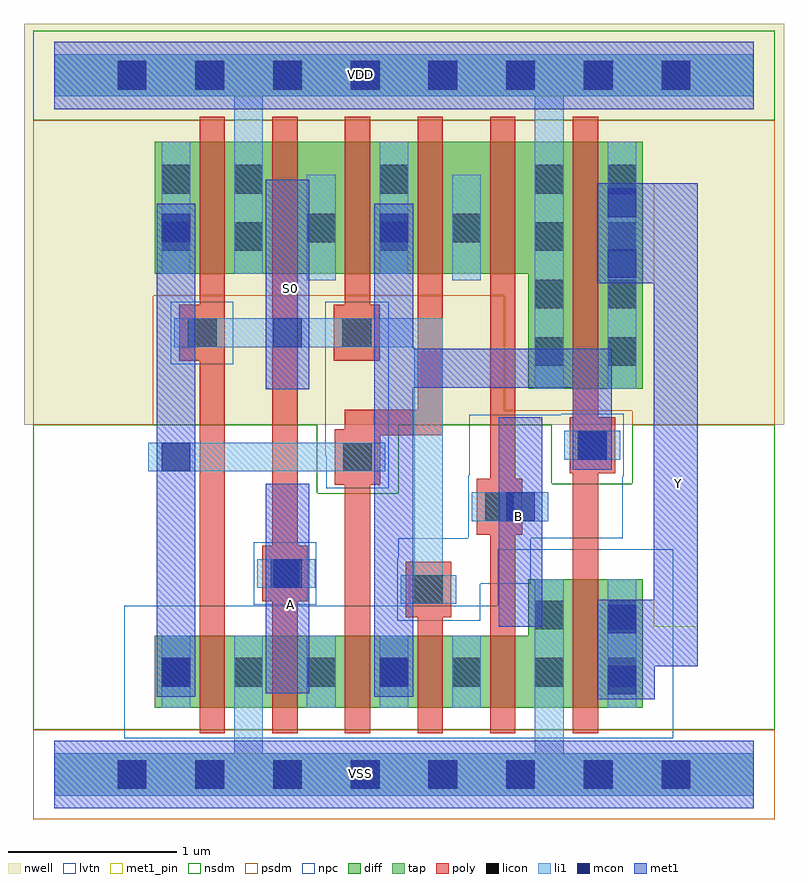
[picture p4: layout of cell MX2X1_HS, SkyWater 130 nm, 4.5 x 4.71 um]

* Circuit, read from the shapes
.subckt MX2X1_HS A B S0 VDD VSS Y
XM1 VSS S0 n1 VSS sky130_fd_pr__nfet_01v8_lvt w=0.425 l=0.15
XM2 n2 A VSS VSS sky130_fd_pr__nfet_01v8_lvt w=0.425 l=0.15
XM3 n3 n1 n2 VSS sky130_fd_pr__nfet_01v8_lvt w=0.425 l=0.15
XM4 n4 S0 n3 VSS sky130_fd_pr__nfet_01v8_lvt w=0.425 l=0.15
XM5 VSS B n4 VSS sky130_fd_pr__nfet_01v8_lvt w=0.425 l=0.15
XM6 Y n3 VSS VSS sky130_fd_pr__nfet_01v8_lvt w=0.76 l=0.15
XM7 VDD S0 n1 VDD sky130_fd_pr__pfet_01v8 w=0.78 l=0.15
XM8 n5 A VDD VDD sky130_fd_pr__pfet_01v8 w=0.78 l=0.15
XM9 n3 S0 n5 VDD sky130_fd_pr__pfet_01v8 w=0.78 l=0.15
XM10 n6 n1 n3 VDD sky130_fd_pr__pfet_01v8 w=0.78 l=0.15
XM11 VDD B n6 VDD sky130_fd_pr__pfet_01v8 w=0.78 l=0.15
XM12 Y n3 VDD VDD sky130_fd_pr__pfet_01v8 w=1.46 l=0.15
.ends

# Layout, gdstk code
from math import pi, radians
import gdstk
lib = gdstk.Library(unit=1e-6, precision=1e-09)
def R(c, l, rs):  # rectangles x0, y0, x1, y1
    for r in rs: c.add(gdstk.rectangle(r[:2], r[2:], *l))
def A(c, l, x, y, w, h, nx, ny, dx, dy):  # array of equal rectangles
    R(c, l, [(x+i*dx, y+j*dy, x+i*dx+w, y+j*dy+h) for i in range(nx) for j in range(ny)])
def P(c, l, *ps):  # polygons
    for p in ps: c.add(gdstk.Polygon(p, *l))
nwell = (64, 20)
diff = (65, 20)
tap = (65, 44)
poly = (66, 20)
licon = (66, 44)
li1 = (67, 20)
mcon = (67, 44)
met1_pin = (68, 16)
met1 = (68, 20)
nsdm = (93, 44)
psdm = (94, 20)
npc = (95, 20)
lvtn = (125, 44)

pyl1con_c_cdns_752016586 = lib.new_cell('PYL1CON_C_CDNS_752016586813')
R(pyl1con_c_cdns_752016586, poly, [(-0.135,-0.165,0.135,0.165)])
R(pyl1con_c_cdns_752016586, licon, [(-0.085,-0.085,0.085,0.085)])
R(pyl1con_c_cdns_752016586, npc, [(-0.185,-0.185,0.185,0.185)])

l1m1_c_cdns_752016586812 = lib.new_cell('L1M1_C_CDNS_752016586812')
R(l1m1_c_cdns_752016586812, li1, [(-0.085,-0.165,0.085,0.165)])
R(l1m1_c_cdns_752016586812, mcon, [(-0.085,-0.085,0.085,0.085)])
R(l1m1_c_cdns_752016586812, met1, [(-0.115,-0.145,0.115,0.145)])

l1m1_c_cdns_752016586818 = lib.new_cell('L1M1_C_CDNS_752016586818')
R(l1m1_c_cdns_752016586818, li1, [(-0.085,-0.345,0.085,0.345)])
R(l1m1_c_cdns_752016586818, mcon, [(-0.085,-0.265,0.085,-0.095), (-0.085,0.095,0.085,0.265)])
R(l1m1_c_cdns_752016586818, met1, [(-0.145,-0.295,0.195,0.295)])

l1m1_c_cdns_752016586811 = lib.new_cell('L1M1_C_CDNS_752016586811')
R(l1m1_c_cdns_752016586811, li1, [(-0.165,-0.085,0.165,0.085)])
R(l1m1_c_cdns_752016586811, mcon, [(-0.085,-0.085,0.085,0.085)])
R(l1m1_c_cdns_752016586811, met1, [(-0.115,-0.145,0.115,0.145)])

licondiff_c_cdns_7520165 = lib.new_cell('LICONDIFF_C_CDNS_752016586819')
R(licondiff_c_cdns_7520165, diff, [(-0.125,-0.145,0.125,0.145)])
R(licondiff_c_cdns_7520165, licon, [(-0.085,-0.085,0.085,0.085), (-0.085,-0.085,0.085,0.085)])

mx2x1_hs = lib.new_cell('MX2X1_HS')
R(mx2x1_hs, nwell, [(-0.18,2.07,4.32,4.445)])
P(mx2x1_hs, diff, [(3.485,3.745),(0.595,3.745),(0.595,2.965),(2.805,2.965),(2.805,2.285),(3.485,2.285)],
  [(3.485,1.155),(2.805,1.155),(2.805,0.82),(0.595,0.82),(0.595,0.395),(3.485,0.395)])
R(mx2x1_hs, poly, [(0.86,0.245,1.01,3.895), (1.29,0.245,1.44,3.895), (2.15,0.245,2.3,1.23), (2.58,0.245,2.73,3.895), (3.07,0.245,3.22,3.895), (1.72,2.53,1.87,3.895)])
P(mx2x1_hs, poly, [(2.3,3.895),(2.15,3.895),(2.15,2.16),(1.72,2.16),(1.72,0.245),(1.87,0.245),(1.87,2.01),(2.3,2.01)])
A(mx2x1_hs, licon, 0.375, -0.085, 0.17, 0.17, 8, 2, 0.46, 4.14)
A(mx2x1_hs, licon, 2.845, 2.42, 0.17, 0.17, 1, 4, 0, 0.34)
A(mx2x1_hs, licon, 3.275, 2.42, 0.17, 0.17, 1, 4, 0, 0.34)
R(mx2x1_hs, licon, [(0.635,0.52,0.805,0.69), (1.065,0.52,1.235,0.69), (1.925,0.52,2.095,0.69), (2.845,0.52,3.015,0.69), (3.275,0.52,3.445,0.69), (2.845,0.86,3.015,1.03), (3.275,0.86,3.445,1.03), (0.635,3.1,0.805,3.27), (1.065,3.1,1.235,3.27), (1.925,3.1,2.095,3.27), (0.635,3.44,0.805,3.61), (1.065,3.44,1.235,3.61), (1.925,3.44,2.095,3.61)])
R(mx2x1_hs, li1, [(0.635,0.395,0.805,0.82), (1.925,0.395,2.095,0.82), (3.275,0.395,3.445,1.155), (3.275,2.285,3.445,3.745), (0.635,2.965,0.805,3.745), (1.925,2.965,2.095,3.745)])
P(mx2x1_hs, li1, [(2.38,1.18),(2.3,1.18),(2.3,2.7),(0.71,2.7),(0.71,2.53),(2.13,2.53),(2.13,1.18),(2.05,1.18),(2.05,1.01),(2.38,1.01)],
  [(4.14,4.265),(0,4.265),(0,4.015),(1.065,4.015),(1.065,2.965),(1.235,2.965),(1.235,4.015),(2.845,4.015),(2.845,2.285),(3.015,2.285),(3.015,4.015),(4.14,4.015)],
  [(4.14,0.125),(3.015,0.125),(3.015,1.155),(2.845,1.155),(2.845,0.125),(1.235,0.125),(1.235,0.82),(1.065,0.82),(1.065,0.125),(0,0.125),(0,-0.125),(4.14,-0.125)])
A(mx2x1_hs, mcon, 0.375, -0.085, 0.17, 0.17, 8, 2, 0.46, 4.14)
R(mx2x1_hs, met1_pin, [(1.25,0.48,1.51,1.72), (2.63,0.875,2.89,2.115), (3.55,0.875,3.81,3.5), (1.25,2.28,1.51,3.52)])
P(mx2x1_hs, met1, [(3.3,2.52),(2.125,2.52),(2.125,3.235),(1.895,3.235),(1.895,0.605),(2.125,0.605),(2.125,2.29),(3.07,2.29),(3.07,1.95),(3.3,1.95)])
R(mx2x1_hs, nsdm, [(-0.125,3.875,4.265,4.405)])
P(mx2x1_hs, nsdm, [(4.265,2.07),(3.42,2.07),(3.42,1.72),(2.945,1.72),(2.945,2.07),(2.035,2.07),(2.035,1.665),(1.555,1.665),(1.555,2.07),(-0.125,2.07),(-0.125,0.265),(4.265,0.265)])
R(mx2x1_hs, psdm, [(-0.125,-0.265,4.265,0.265)])
P(mx2x1_hs, psdm, [(4.265,3.875),(-0.125,3.875),(-0.125,2.07),(0.585,2.07),(0.585,2.835),(2.665,2.835),(2.665,2.155),(3.42,2.155),(3.42,2.07),(4.265,2.07)])
R(mx2x1_hs, npc, [(1.605,1.89,1.98,2.8)])
P(mx2x1_hs, npc, [(3.365,2.13),(2.455,2.13),(2.455,1.4),(2.035,1.4),(2.035,0.91),(2.52,0.91),(2.52,1.13),(2.82,1.13),(2.82,1.4),(3.365,1.4)])
P(mx2x1_hs, lvtn, [(3.665,1.335),(2.625,1.335),(2.625,1),(0.415,1),(0.415,0.215),(3.665,0.215)])
mx2x1_hs.add(gdstk.FlexPath([(1.58,2.925),(1.58,3.55)], 0.17, ends="flush", simple_path=True, layer=67, datatype=20))  # li1
mx2x1_hs.add(gdstk.FlexPath([(2.44,2.925),(2.44,3.55)], 0.17, ends="flush", simple_path=True, layer=67, datatype=20))  # li1
mx2x1_hs.add(gdstk.FlexPath([(2.44,0.395),(2.44,0.82)], 0.17, ends="flush", simple_path=True, layer=67, datatype=20))  # li1
mx2x1_hs.add(gdstk.FlexPath([(1.58,0.395),(1.58,0.82)], 0.17, ends="flush", simple_path=True, layer=67, datatype=20))  # li1
mx2x1_hs.add(gdstk.FlexPath([(0.72,1.88),(1.96,1.88)], 0.17, ends="flush", simple_path=True, layer=67, datatype=20))  # li1
mx2x1_hs.add(gdstk.FlexPath([(2.76,1.585),(2.47,1.585)], 0.17, ends="flush", simple_path=True, layer=67, datatype=20))  # li1
mx2x1_hs.add(gdstk.FlexPath([(1.38,1.19),(1.2,1.19)], 0.17, ends="flush", simple_path=True, layer=67, datatype=20))  # li1
mx2x1_hs.add(gdstk.FlexPath([(0,4.14),(4.14,4.14)], 0.4, ends="flush", simple_path=True, layer=68, datatype=20))  # met1
mx2x1_hs.add(gdstk.FlexPath([(0,0),(4.14,0)], 0.4, ends="flush", simple_path=True, layer=68, datatype=20))  # met1
mx2x1_hs.add(gdstk.FlexPath([(3.68,0.64),(3.68,3.5)], 0.26, ends="flush", simple_path=True, layer=68, datatype=20))  # met1
mx2x1_hs.add(gdstk.FlexPath([(0.72,0.605),(0.72,3.235)], 0.23, ends="flush", simple_path=True, layer=68, datatype=20))  # met1
mx2x1_hs.add(gdstk.FlexPath([(1.38,2.28),(1.38,3.52)], 0.26, ends="flush", simple_path=True, layer=68, datatype=20))  # met1
mx2x1_hs.add(gdstk.FlexPath([(2.76,2.115),(2.76,0.875)], 0.26, ends="flush", simple_path=True, layer=68, datatype=20))  # met1
mx2x1_hs.add(gdstk.FlexPath([(1.38,0.48),(1.38,1.72)], 0.26, ends="flush", simple_path=True, layer=68, datatype=20))  # met1
mx2x1_hs.add(gdstk.FlexPath([(0,4.14),(4.14,4.14)], 0.25, ends="flush", simple_path=True, layer=65, datatype=44))  # tap
mx2x1_hs.add(gdstk.FlexPath([(0,0),(4.14,0)], 0.25, ends="flush", simple_path=True, layer=65, datatype=44))  # tap
mx2x1_hs.add(gdstk.FlexPath([(0,0),(4.14,0)], 0.4, ends="flush", simple_path=True, layer=68, datatype=16))  # met1_pin
mx2x1_hs.add(gdstk.FlexPath([(0,4.14),(4.14,4.14)], 0.4, ends="flush", simple_path=True, layer=68, datatype=16))  # met1_pin
mx2x1_hs.add(gdstk.Reference(pyl1con_c_cdns_752016586, (3.185,1.95), x_reflection=True))
mx2x1_hs.add(gdstk.Reference(pyl1con_c_cdns_752016586, (2.635,1.585), x_reflection=True))
mx2x1_hs.add(gdstk.Reference(pyl1con_c_cdns_752016586, (1.365,1.19), x_reflection=True))
mx2x1_hs.add(gdstk.Reference(pyl1con_c_cdns_752016586, (1.795,1.88), x_reflection=True))
mx2x1_hs.add(gdstk.Reference(pyl1con_c_cdns_752016586, (2.215,1.095), x_reflection=True))
mx2x1_hs.add(gdstk.Reference(pyl1con_c_cdns_752016586, (1.79,2.615), x_reflection=True))
mx2x1_hs.add(gdstk.Reference(pyl1con_c_cdns_752016586, (0.875,2.615), x_reflection=True))
mx2x1_hs.add(gdstk.Reference(l1m1_c_cdns_752016586812, (0.72,3.235)))
mx2x1_hs.add(gdstk.Reference(l1m1_c_cdns_752016586812, (0.72,0.605)))
mx2x1_hs.add(gdstk.Reference(l1m1_c_cdns_752016586812, (2.01,0.605)))
mx2x1_hs.add(gdstk.Reference(l1m1_c_cdns_752016586812, (2.01,3.235)))
mx2x1_hs.add(gdstk.Reference(l1m1_c_cdns_752016586818, (3.36,3.205)))
mx2x1_hs.add(gdstk.Reference(l1m1_c_cdns_752016586818, (3.36,0.74)))
mx2x1_hs.add(gdstk.Reference(l1m1_c_cdns_752016586811, (1.38,1.19), x_reflection=True))
mx2x1_hs.add(gdstk.Reference(l1m1_c_cdns_752016586811, (2.76,1.585), rotation=pi, x_reflection=True))
mx2x1_hs.add(gdstk.Reference(l1m1_c_cdns_752016586811, (3.185,1.95)))
mx2x1_hs.add(gdstk.Reference(l1m1_c_cdns_752016586811, (1.38,2.615), x_reflection=True))
mx2x1_hs.add(gdstk.Reference(l1m1_c_cdns_752016586811, (0.72,1.88)))
mx2x1_hs.add(gdstk.Reference(licondiff_c_cdns_7520165, (2.44,0.605)))
mx2x1_hs.add(gdstk.Reference(licondiff_c_cdns_7520165, (1.58,0.605)))
mx2x1_hs.add(gdstk.Reference(licondiff_c_cdns_7520165, (2.44,3.235)))
mx2x1_hs.add(gdstk.Reference(licondiff_c_cdns_7520165, (1.58,3.235)))
mx2x1_hs.add(gdstk.Label('VSS', (1.81,0.005), layer=68, texttype=5))
mx2x1_hs.add(gdstk.Label('A', (1.395,1.005), layer=68, texttype=5))
mx2x1_hs.add(gdstk.Label('VDD', (1.81,4.145), layer=68, texttype=5))
mx2x1_hs.add(gdstk.Label('B', (2.75,1.525), layer=68, texttype=5))
mx2x1_hs.add(gdstk.Label('S0', (1.395,2.875), layer=68, texttype=5))
mx2x1_hs.add(gdstk.Label('Y', (3.695,1.72), layer=68, texttype=5))

lib.write_gds('MX2X1_HS.gds')
